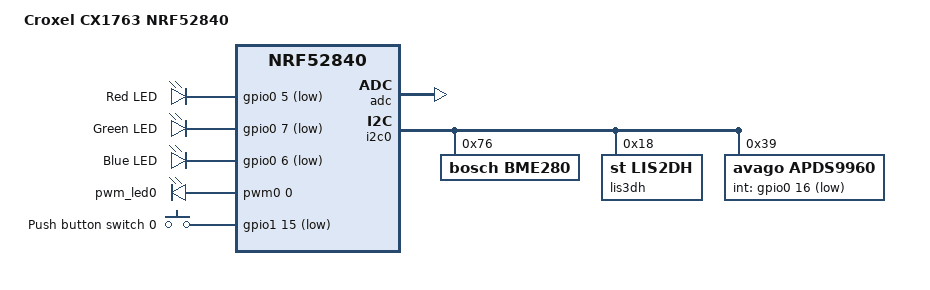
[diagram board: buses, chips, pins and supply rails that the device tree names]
/*
 * Copyright (c) 2024 Luis Ubieda
 *
 * SPDX-License-Identifier: Apache-2.0
 */

/dts-v1/;
#include <nordic/nrf52840_qiaa.dtsi>
#include "croxel_cx1763_nrf52840-pinctrl.dtsi"
#include <zephyr/dt-bindings/input/input-event-codes.h>

/ {
	model = "Croxel CX1763 NRF52840";
	compatible = "croxel,cx1763-nrf52840";

	chosen {
		zephyr,sram = &sram0;
		zephyr,flash = &flash0;
		zephyr,code-partition = &slot0_partition;
	};

	leds {
		compatible = "gpio-leds";
		led0: led_0 {
			gpios = <&gpio0 5 GPIO_ACTIVE_LOW>;
			label = "Red LED";
		};
		led1: led_1 {
			gpios = <&gpio0 7 GPIO_ACTIVE_LOW>;
			label = "Green LED";
		};
		led2: led_2 {
			gpios = <&gpio0 6 GPIO_ACTIVE_LOW>;
			label = "Blue LED";
		};
	};

	pwmleds {
		compatible = "pwm-leds";
		pwm_led0: pwm_led_0 {
			pwms = <&pwm0 0 PWM_MSEC(20) PWM_POLARITY_INVERTED>;
		};
	};

	buttons {
		compatible = "gpio-keys";
		button0: button_0 {
			gpios = <&gpio1 15 (GPIO_PULL_UP | GPIO_ACTIVE_LOW)>;
			label = "Push button switch 0";
			zephyr,code = <INPUT_KEY_0>;
		};
	};

	/* These aliases are provided for compatibility with samples */
	aliases {
		led0 = &led0;
		led1 = &led1;
		led2 = &led2;
		pwm-led0 = &pwm_led0;
		sw0 = &button0;
		bootloader-led0 = &led0;
		mcuboot-button0 = &button0;
		mcuboot-led0 = &led0;
		watchdog0 = &wdt0;
	};
};

&adc {
	status = "okay";
};

&uicr {
	gpio-as-nreset;
};

&gpiote {
	status = "okay";
};

&gpio0 {
	status = "okay";
};

&gpio1 {
	status = "okay";
};

arduino_i2c: &i2c0 {
	compatible = "nordic,nrf-twi";
	status = "okay";
	pinctrl-0 = <&i2c0_default>;
	pinctrl-1 = <&i2c0_sleep>;
	pinctrl-names = "default", "sleep";

	/** @TODO: Add BME280, LIS3DH, APS9960 */
	bme280@76 {
		compatible = "bosch,bme280";
		reg = <0x76>;
	};
	lis3dh: lis3dh@18 {
		compatible = "st,lis2dh";
		reg = <0x18>;
	};
	apds9960: apds9960@39 {
		compatible = "avago,apds9960";
		status = "okay";
		reg = <0x39>;
		int-gpios = <&gpio0 16 (GPIO_ACTIVE_LOW | GPIO_PULL_UP)>;
	};
};

&flash0 {

	partitions {
		compatible = "fixed-partitions";
		#address-cells = <1>;
		#size-cells = <1>;

		boot_partition: partition@0 {
			label = "mcuboot";
			reg = <0x00000000 0x0000C000>;
		};
		slot0_partition: partition@c000 {
			label = "image-0";
			reg = <0x0000C000 0x00076000>;
		};
		slot1_partition: partition@82000 {
			label = "image-1";
			reg = <0x00082000 0x00076000>;
		};

		/*
		 * The flash starting at 0x000f8000 and ending at
		 * 0x000fffff is reserved for use by the application.
		 */

		/*
		 * Storage partition will be used by FCB/LittleFS/NVS
		 * if enabled.
		 */
		storage_partition: partition@f8000 {
			label = "storage";
			reg = <0x000f8000 0x00008000>;
		};
	};
};
